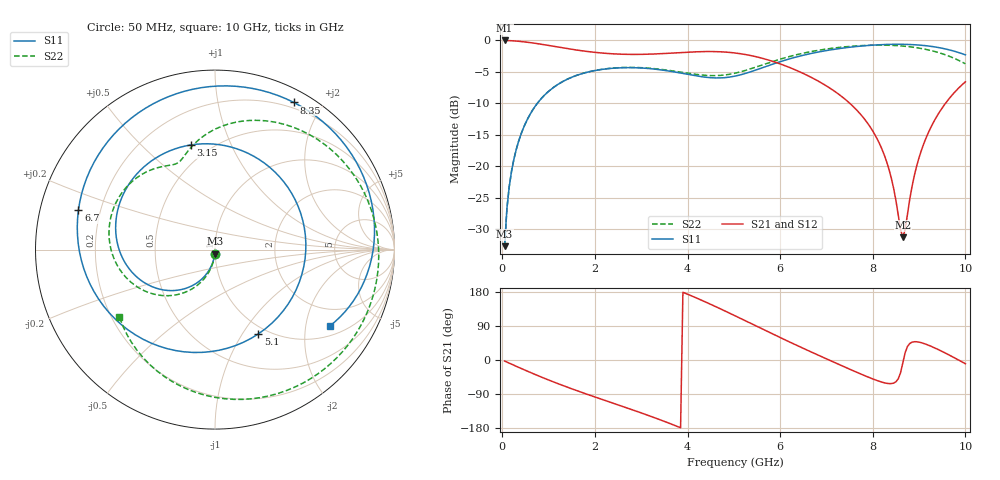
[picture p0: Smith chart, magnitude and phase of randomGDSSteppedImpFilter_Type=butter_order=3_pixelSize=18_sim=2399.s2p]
! freq	dB(S11)	phase(S11)	dB(S12)	phase(S12)
!  dB(S21)	phase(S21)	dB(S22)	phase(S22)
!S-par simulation data
#  GHz  S  DB  R 50
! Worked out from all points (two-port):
!   200 points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, 50 MHz to 10 GHz, reference 50 ohm
!   highest |S21| = -0.01 dB at 50 MHz (marker M1); lowest = -31.3 dB at 8.65 GHz (marker M2)
!   |S21| within 3 dB of the highest: start of sweep to 5.696 GHz
!   lowest |S11| = -32.7 dB at 50 MHz (marker M3), VSWR 1.05, Z = 49.8 - j2.31 ohm
!   |S11| at or under -10 dB: start of sweep to 756.4 MHz
!   |S22| runs from -32.7 to -0.7 dB; largest |S21 - S12| = 0
!   S11 on the Smith chart (normalised r, x): 50 MHz: 1.00, -0.05; 3.15 GHz: 0.39, +0.72; 5.1 GHz: 0.91, -1.18; 6.7 GHz: 0.12, +0.14; 8.35 GHz: 0.14, +1.66; 10 GHz: 1.32, -2.73
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0.05  -32.69 -93.1  -0.01 -2.8  -0.01 -2.8  -32.68 -92.7
0.1  -26.69 -96.3  -0.02 -5.6  -0.02 -5.6  -26.69 -95.5
0.2  -20.77 -102.3  -0.05 -11.1  -0.05 -11.1  -20.76 -100.9
0.5  -13.18 -119.6  -0.25 -27.3  -0.25 -27.3  -13.17 -116.1
1.1  -7.50 -152.4  -0.92 -57.6  -0.92 -57.6  -7.50 -144.0
1.75  -5.22 175.1  -1.68 -87.0  -1.68 -87.0  -5.21 -170.2
2.4  -4.41 143.3  -2.13 -114.3  -2.13 -114.3  -4.39 167.1
3.15  -4.46 103.1  -2.19 -146.2  -2.19 -146.2  -4.40 143.9
3.4  -4.65 87.8  -2.12 -157.4  -2.12 -157.4  -4.57 136.9
4.35  -5.81 13.6  -1.77 155.2  -1.77 155.2  -5.52 117.0
5.05  -5.63 -57.6  -2.02 115.3  -2.02 115.3  -5.17 107.8
5.1  -5.55 -62.8  -2.07 112.3  -2.07 112.3  -5.08 106.9
5.8  -3.87 -128.8  -3.24 70.9  -3.24 70.9  -3.43 89.5
6.25  -2.83 -164.5  -4.44 44.9  -4.44 44.9  -2.46 73.0
6.7  -2.03 163.9  -5.98 19.5  -5.98 19.5  -1.73 54.0
7.6  -1.01 107.0  -10.66 -29.5  -10.66 -29.5  -0.89 10.8
8.35  -0.63 61.8  -20.48 -62.3  -20.48 -62.3  -0.77 -29.8
8.65  -0.62 43.9  -31.25 -7.2  -31.25 -7.2  -0.90 -47.5
8.9  -0.69 29.0  -21.39 48.3  -21.39 48.3  -1.10 -63.1
9.15  -0.84 14.3  -15.50 41.6  -15.50 41.6  -1.43 -79.5
9.55  -1.32 -9.0  -10.19 19.4  -10.19 19.4  -2.24 -108.1
10  -2.29 -33.7  -6.57 -9.9  -6.57 -9.9  -3.72 -144.8
